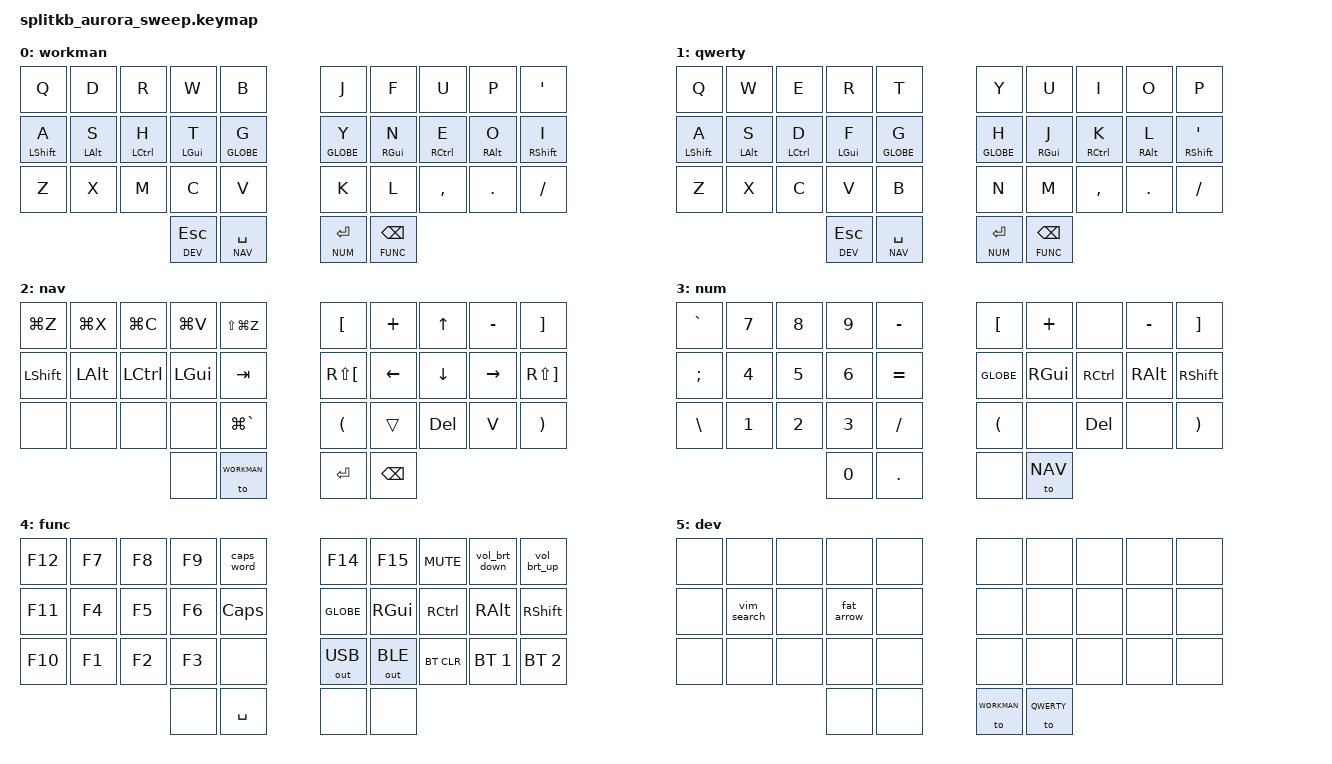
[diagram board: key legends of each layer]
/*
 * Copyright (c) 2022 The ZMK Contributors
 *
 * SPDX-License-Identifier: MIT
 */

#include <behaviors.dtsi>
#include <dt-bindings/zmk/keys.h>
#include <dt-bindings/zmk/bt.h>
#include <dt-bindings/zmk/outputs.h>


#define WORKMAN      0
#define QWERTY       1
#define NAV          2
#define NUM          3
#define FUNC         4
#define DEV          5

#define COMBO_TIMEOUT 45

/ {
     behaviors {
         hrm: global-quick-tap {
             compatible = "zmk,behavior-hold-tap";
             label = "HOMEROW_MODS";
             #binding-cells = <2>;
             flavor = "tap-preferred";
             tapping-term-ms = <200>;
             quick-tap-ms = <0>;
             bindings = <&kp>, <&kp>;
         };

         vol_brt_down: volume_brightness_down {
            compatible = "zmk,behavior-mod-morph";
            label = "VOLUME_BRIGHTNESS_DOWN";
            #binding-cells = <0>;
            bindings = <&kp C_VOLUME_DOWN>, <&kp C_BRIGHTNESS_DEC>;
            mods = <(MOD_LSFT|MOD_RSFT)>;
         };
         
         vol_brt_up: volume_brightness_up {
            compatible = "zmk,behavior-mod-morph";
            label = "VOLUME_BRIGHTNESS_UP";
            #binding-cells = <0>;
            bindings = <&kp C_VOLUME_UP>, <&kp C_BRIGHTNESS_INC>;
            mods = <(MOD_LSFT|MOD_RSFT)>;
         };
     };
};

/ {
     macros {
         fat_arrow: fat_arrow {
             label = "fat_arrow";
             compatible = "zmk,behavior-macro";
             #binding-cells = <0>;
             bindings
                 = <&macro_tap &kp EQUAL &kp GREATER_THAN>
                 ;
         };


         call: close_all {
             label = "elw_semi";
             compatible = "zmk,behavior-macro";
             #binding-cells = <0>;
             bindings
                 = <&macro_tap &kp LG(K) &kp LG(W)>
                 ;
         };

         esc_colon: esc_colon {
             label = "esc_colon";
             compatible = "zmk,behavior-macro";
             #binding-cells = <0>;
             bindings
                 = <&macro_tap &kp ESC &kp COLON>
                 ;
         };

         vim_search: combo_vim_search {
            label = "vim_search";
            compatible = "zmk,behavior-macro";
            #binding-cells = <0>;
            bindings = <&macro_tap &kp SPACE &kp SPACE &kp S>;
         };
     };
};

/ { 

     combos {
         compatible = "zmk,combos";

         combo_refresh {
             timeout-ms = <COMBO_TIMEOUT>;
             key-positions = <1 2 3>;
             bindings = <&kp LG(R)>;
             layers = <0>;
         };

         combo_close {
             timeout-ms = <COMBO_TIMEOUT>;
             key-positions = <2 3 4>;
             bindings = <&kp LG(W)>;
             layers = <0>;
         };

         combo_close_all {
             timeout-ms = <COMBO_TIMEOUT>;
             key-positions = <1 2 3 4>;
             bindings = <&call>;
             layers = <0>;
         };

         combo_newtab {
             timeout-ms = <COMBO_TIMEOUT>;
             key-positions = <12 13 14>;
             bindings = <&kp LG(T)>;
             layers = <0>;
         };

         combo_cced {
             timeout-ms = <COMBO_TIMEOUT>;
             key-positions = <21 22 23>;
             bindings = <&kp LA(C)>;
             layers = <0>;
         };

         combo_acute {
             timeout-ms = <COMBO_TIMEOUT>;
             key-positions = <6 7 8>;
             bindings = <&kp RA(E)>;
             layers = <0>;
         };

         combo_grave {
             timeout-ms = <COMBO_TIMEOUT>;
             key-positions = <26 27 28>;
             bindings = <&kp RA(GRAVE)>;
             layers = <0>;
         };
         
         combo_hat {
             timeout-ms = <COMBO_TIMEOUT>;
             key-positions = <6 7 8 9>;
             bindings = <&kp RA(I)>;
             layers = <0>;
         };

         combo_trema {
             timeout-ms = <COMBO_TIMEOUT>;
             key-positions = <5 6 7 8>;
             bindings = <&kp RA(U)>;
             layers = <0>;
         };

         combo_esccolon {
             timeout-ms = <COMBO_TIMEOUT>;
             key-positions = <10 31>;
             bindings = <&esc_colon>;
             layers = <0>;
         };

         combo_tab {
             timeout-ms = <COMBO_TIMEOUT>;
             key-positions = <30 31>;
             bindings = <&kp TAB>;
             layers = <0>;
         };
     };

     keymap {
             compatible = "zmk,keymap";
             
         workman {
             bindings = <
// ╭───────────────┬───────────────┬──────────────┬───────────────┬───────────────╮ ╭───────────────┬───────────────┬──────────────┬───────────────┬───────────────╮
     &kp Q           &kp  D          &kp  R         &kp  W          &kp B             &kp J           &kp F           &kp U          &kp P           &kp SQT
// ├───────────────┼───────────────┼──────────────┼───────────────┼───────────────┤ ├───────────────┼───────────────┼──────────────┼───────────────┼───────────────┤
     &hrm LSHIFT A   &hrm LALT S     &hrm LCTRL H   &hrm LGUI T     &hrm GLOBE G      &hrm GLOBE Y    &hrm RGUI N     &hrm RCTRL E   &hrm RALT O     &hrm RSHIFT I
// ├───────────────┼───────────────┼──────────────┼───────────────┼───────────────┤ ├───────────────┼───────────────┼──────────────┼───────────────┼───────────────┤
     &kp Z           &kp X           &kp M          &kp C           &kp V             &kp K           &kp L           &kp COMMA      &kp DOT         &kp SLASH
// ╰───────────────┴───────────────┴──────────────┼───────────────┼───────────────┤ ├───────────────┼───────────────┴──────────────┴───────────────┴───────────────╯
                                                    &lt DEV ESC     &lt NAV SPC       &lt NUM RET     &lt FUNC BSPC
//                                                ╰───────────────┴───────────────╯ ╰───────────────┴───────────────╯
             >;
         };

         qwerty {
             bindings = <
// ╭───────────────┬───────────────┬──────────────┬───────────────┬───────────────╮ ╭───────────────┬───────────────┬──────────────┬───────────────┬───────────────╮
     &kp Q           &kp  W          &kp  E         &kp  R          &kp T             &kp Y           &kp U           &kp I          &kp O           &kp P
// ├───────────────┼───────────────┼──────────────┼───────────────┼───────────────┤ ├───────────────┼───────────────┼──────────────┼───────────────┼───────────────┤
     &hrm LSHIFT A   &hrm LALT S     &hrm LCTRL D   &hrm LGUI F     &hrm GLOBE G      &hrm GLOBE H    &hrm RGUI J     &hrm RCTRL K   &hrm RALT L     &hrm RSHFT SQT 
// ├───────────────┼───────────────┼──────────────┼───────────────┼───────────────┤ ├───────────────┼───────────────┼──────────────┼───────────────┼───────────────┤
     &kp Z           &kp X           &kp C          &kp V           &kp B             &kp N           &kp M           &kp COMMA      &kp DOT         &kp SLASH
// ╰───────────────┴───────────────┴──────────────┼───────────────┼───────────────┤ ├───────────────┼───────────────┴──────────────┴───────────────┴───────────────╯
                                                    &lt DEV ESC     &lt NAV SPC       &lt NUM RET     &lt FUNC BSPC
//                                                ╰───────────────┴───────────────╯ ╰───────────────┴───────────────╯
             >;
         };
         nav {
             bindings = <
// ╭───────────────┬───────────────┬──────────────┬───────────────┬───────────────╮ ╭───────────────┬───────────────┬──────────────┬───────────────┬───────────────╮
     &kp LG(Z)       &kp LG(X)       &kp LG(C)      &kp LG(V)       &kp LS(LG(Z))     &kp LBKT        &kp PLUS        &kp UP         &kp MINUS       &kp RBKT
// ├───────────────┼───────────────┼──────────────┼───────────────┼───────────────┤ ├───────────────┼───────────────┼──────────────┼───────────────┼───────────────┤
     &kp LSHIFT      &kp LALT        &kp LCTRL      &kp LGUI        &kp TAB           &kp RS(LBKT)    &kp LEFT        &kp DOWN       &kp RIGHT       &kp RS(RBKT)
// ├───────────────┼───────────────┼──────────────┼───────────────┼───────────────┤ ├───────────────┼───────────────┼──────────────┼───────────────┼───────────────┤
     &none           &none           &none          &none           &kp LG(GRAVE)     &kp LPAR        &trans          &kp DELETE     &kp V           &kp RPAR
// ╰───────────────┴───────────────┴──────────────┼ ──────────────┼───────────────┤ ├───────────────┼───────────────┴──────────────┴───────────────┴───────────────╯
                                                    &none           &to WORKMAN       &kp RETURN      &kp BSPC
//                                                ╰───────────────┴───────────────╯ ╰───────────────┴───────────────╯
             >;
         };

         num {
             bindings = <
// ╭───────────────┬───────────────┬──────────────┬───────────────┬───────────────╮ ╭───────────────┬───────────────┬──────────────┬───────────────┬───────────────╮
     &kp GRAVE       &kp N7          &kp N8         &kp N9          &kp MINUS         &kp LBKT        &kp PLUS        &none          &kp MINUS       &kp RBKT
// ├───────────────┼───────────────┼──────────────┼───────────────┼───────────────┤ ├───────────────┼───────────────┼──────────────┼───────────────┼───────────────┤
     &kp SEMICOLON   &kp N4          &kp N5         &kp N6          &kp EQUAL         &kp GLOBE       &kp RGUI        &kp RCTRL      &kp RALT        &kp RSHIFT
// ├───────────────┼───────────────┼──────────────┼───────────────┼───────────────┤ ├───────────────┼───────────────┼──────────────┼───────────────┼───────────────┤
     &kp BACKSLASH   &kp N1          &kp N2         &kp N3          &kp SLASH         &kp LPAR        &none           &kp DELETE     &none           &kp RPAR
// ╰───────────────┴───────────────┴──────────────┼ ──────────────┼───────────────┤ ├───────────────┼───────────────┴──────────────┴───────────────┴───────────────╯
                                                    &kp N0          &kp DOT           &none           &to NAV
//                                                ╰───────────────┴───────────────╯ ╰───────────────┴───────────────╯
 
             >;
         };

         func {
             bindings = <
// ╭───────────────┬───────────────┬──────────────┬───────────────┬───────────────╮ ╭───────────────┬───────────────┬──────────────┬───────────────┬───────────────╮
     &kp F12         &kp F7          &kp F8         &kp F9          &caps_word        &kp F14         &kp F15         &kp C_MUTE     &vol_brt_down   &vol_brt_up
// ├───────────────┼───────────────┼──────────────┼───────────────┼───────────────┤ ├───────────────┼───────────────┼──────────────┼───────────────┼───────────────┤
     &kp F11         &kp F4          &kp F5         &kp F6          &kp CAPSLOCK      &kp GLOBE       &kp RGUI        &kp RCTRL      &kp RALT        &kp RSHIFT
// ├───────────────┼───────────────┼──────────────┼───────────────┼───────────────┤ ├───────────────┼───────────────┼──────────────┼───────────────┼───────────────┤
     &kp F10         &kp F1          &kp F2         &kp F3          &none             &out OUT_USB    &out OUT_BLE    &bt BT_CLR     &bt BT_SEL 1    &bt BT_SEL 2
// ╰───────────────┴───────────────┴──────────────┼ ──────────────┼───────────────┤ ├───────────────┼───────────────┴──────────────┴───────────────┴───────────────╯
                                                    &none           &kp SPACE         &none           &none
//                                                ╰───────────────┴───────────────╯ ╰───────────────┴───────────────╯
             >;
         };

         dev {
             bindings = <
// ╭───────────────┬───────────────┬──────────────┬───────────────┬───────────────╮ ╭───────────────┬───────────────┬──────────────┬───────────────┬───────────────╮
     &none           &none           &none          &none           &none             &none           &none           &none          &none           &none
// ├───────────────┼───────────────┼──────────────┼───────────────┼───────────────┤ ├───────────────┼───────────────┼──────────────┼───────────────┼───────────────┤
     &none           &vim_search     &none          &fat_arrow      &none             &none           &none           &none          &none           &none
// ├───────────────┼───────────────┼──────────────┼───────────────┼───────────────┤ ├───────────────┼───────────────┼──────────────┼───────────────┼───────────────┤
     &none           &none           &none          &none           &none             &none           &none           &none          &none           &none
// ╰───────────────┴───────────────┴──────────────┼ ──────────────┼───────────────┤ ├───────────────┼───────────────┴──────────────┴───────────────┴───────────────╯
                                                    &none           &none             &to WORKMAN     &to QWERTY
//                                                ╰───────────────┴───────────────╯ ╰───────────────┴───────────────╯
             >;
         };
     };
};


// Default
// ╭───────────────┬───────────────┬──────────────┬───────────────┬───────────────╮ ╭───────────────┬───────────────┬──────────────┬───────────────┬───────────────╮
//   &kp Q           &kp  D          &kp  R         &kp  W          &kp B             &kp J           &kp F           &kp U          &kp P           &kp SQT
// ├───────────────┼───────────────┼──────────────┼───────────────┼───────────────┤ ├───────────────┼───────────────┼──────────────┼───────────────┼───────────────┤
//   &hrm LSHIFT A   &hrm LALT S     &hrm LCTRL H   &hrm LGUI T     &kp G             &kp Y           &hrm RGUI N     &hrm RCTRL E   &hrm RALT O     &hrm RSHIFT I
// ├───────────────┼───────────────┼──────────────┼───────────────┼───────────────┤ ├───────────────┼───────────────┼──────────────┼───────────────┼───────────────┤
//   &kp Z           &kp X           &kp M          &kp C           &kp V             &kp K           &kp L           &kp COMMA      &kp DOT         &kp SLASH
// ╰───────────────┴───────────────┴──────────────┼───────────────┼───────────────┤ ├───────────────┼───────────────┴──────────────┴───────────────┴───────────────╯
//                                                  &lt DEV ESC     &lt NAV SPC       &lt NUM RET     &lt FUNC BSPC
//                                                ╰───────────────┴───────────────╯ ╰───────────────┴───────────────╯



// None
// ╭───────────────┬───────────────┬──────────────┬───────────────┬───────────────╮ ╭───────────────┬───────────────┬──────────────┬───────────────┬───────────────╮
//   &none           &none           &none          &none           &none             &none           &none           &none          &none           &none
// ├───────────────┼───────────────┼──────────────┼───────────────┼───────────────┤ ├───────────────┼───────────────┼──────────────┼───────────────┼───────────────┤
//   &none           &none           &none          &none           &none             &none           &none           &none          &none           &none
// ├───────────────┼───────────────┼──────────────┼───────────────┼───────────────┤ ├───────────────┼───────────────┼──────────────┼───────────────┼───────────────┤
//   &none           &none           &none          &none           &none             &none           &none           &none          &none           &none
// ╰───────────────┴───────────────┴──────────────┼ ──────────────┼───────────────┤ ├───────────────┼───────────────┴──────────────┴───────────────┴───────────────╯
//                                                  &none           &none             &none           &none
//                                                ╰───────────────┴───────────────╯ ╰───────────────┴───────────────╯
